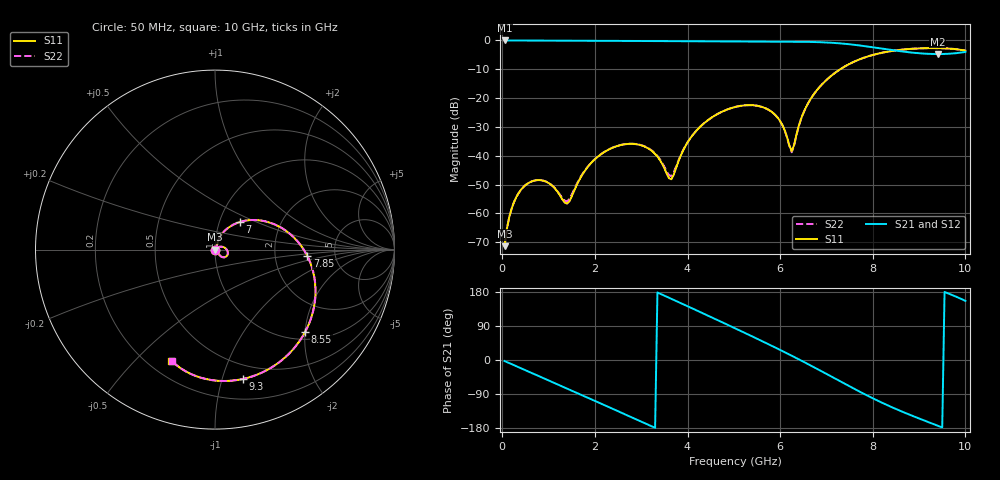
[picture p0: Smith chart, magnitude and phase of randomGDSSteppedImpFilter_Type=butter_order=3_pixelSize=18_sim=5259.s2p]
! freq	dB(S11)	phase(S11)	dB(S12)	phase(S12)
!  dB(S21)	phase(S21)	dB(S22)	phase(S22)
!S-par simulation data
#  GHz  S  DB  R 50
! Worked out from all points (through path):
!   200 points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, 50 MHz to 10 GHz, reference 50 ohm
!   highest |S21| = -0.01 dB at 50 MHz (marker M1); lowest = -4.7 dB at 9.4 GHz (marker M2)
!   group delay of S21, straight-line fit = 160 ps
!   lowest |S11| = -71.3 dB at 50 MHz (marker M3), VSWR 1.00, Z = 50 - j0.0253 ohm
!   |S11| at or under -10 dB: start of sweep to 7.296 GHz
!   |S22| runs from -71.3 to -2.6 dB; largest |S21 - S12| = 0
!   S11 on the Smith chart (normalised r, x): 50 MHz: 1.00, -0.00; 7 GHz: 1.25, +0.40; 7.85 GHz: 3.09, -0.29; 8.55 GHz: 1.17, -2.00; 9.3 GHz: 0.37, -1.17; 10 GHz: 0.29, -0.64
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0.05  -71.34 -68.9  -0.01 -2.8  -0.01 -2.8  -71.35 -68.9
0.2  -58.38 -85.3  -0.02 -10.8  -0.02 -10.8  -58.39 -85.4
0.45  -50.92 -107.1  -0.03 -24.3  -0.03 -24.3  -50.93 -107.4
0.9  -48.70 -145.5  -0.05 -48.5  -0.05 -48.5  -48.69 -146.5
1.4  -56.59 108.8  -0.08 -75.5  -0.08 -75.5  -55.76 108.2
1.75  -46.00 19.4  -0.11 -94.4  -0.11 -94.4  -45.83 21.6
2.6  -36.14 -39.5  -0.16 -140.6  -0.16 -140.6  -36.09 -38.1
3.4  -41.38 -68.5  -0.22 175.4  -0.22 175.4  -41.13 -65.4
3.65  -48.14 -10.1  -0.24 161.5  -0.24 161.5  -47.01 -11.2
4.2  -31.14 33.5  -0.29 130.7  -0.29 130.7  -31.12 32.3
5.05  -22.99 -7.6  -0.36 82.3  -0.36 82.3  -22.99 -8.1
5.85  -25.18 -46.7  -0.41 35.6  -0.41 35.6  -25.19 -47.2
6.25  -38.39 7.1  -0.43 11.3  -0.43 11.3  -38.78 6.9
6.45  -27.28 69.6  -0.46 -1.2  -0.46 -1.2  -27.31 70.2
6.7  -19.28 64.0  -0.53 -17.1  -0.53 -17.1  -19.28 64.3
7  -13.69 48.0  -0.71 -36.7  -0.71 -36.7  -13.70 48.2
7.85  -5.77 -3.8  -2.03 -91.9  -2.03 -91.9  -5.77 -3.7
8.35  -3.81 -32.0  -3.20 -121.2  -3.20 -121.2  -3.81 -32.0
8.55  -3.35 -42.4  -3.65 -131.9  -3.65 -131.9  -3.35 -42.4
9.3  -2.65 -78.0  -4.70 -168.6  -4.70 -168.6  -2.65 -77.8
9.4  -2.66 -82.5  -4.72 -173.3  -4.72 -173.3  -2.66 -82.4
10  -3.54 -111.4  -3.97 156.1  -3.97 156.1  -3.54 -111.2
